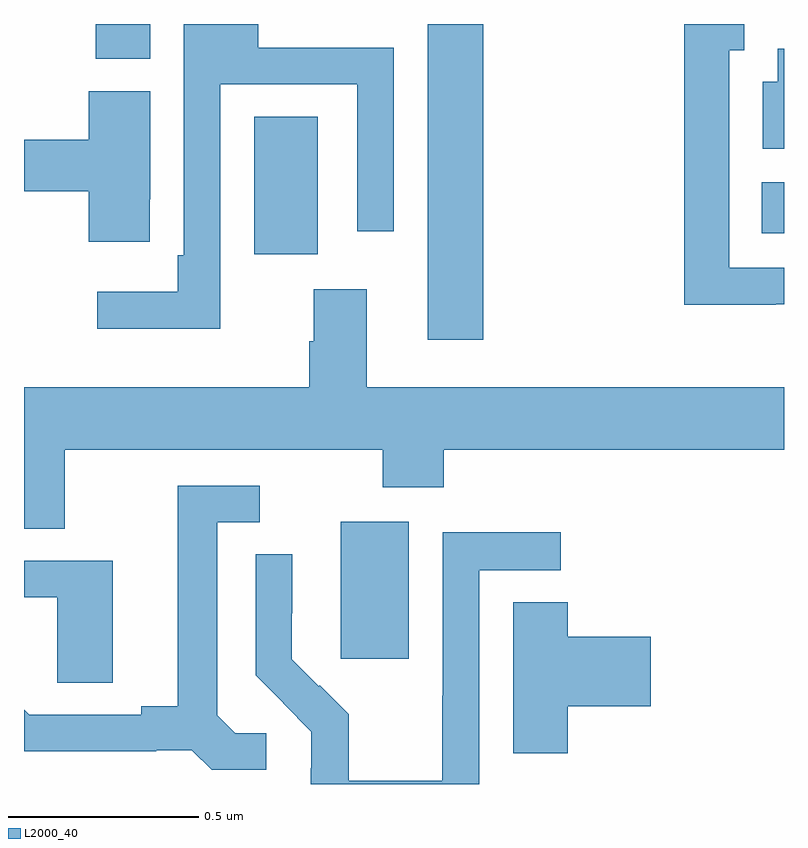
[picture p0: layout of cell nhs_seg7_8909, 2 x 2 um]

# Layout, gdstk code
import gdstk
lib = gdstk.Library(unit=1e-6, precision=1e-09)
def R(c, l, rs):  # rectangles x0, y0, x1, y1
    for r in rs: c.add(gdstk.rectangle(r[:2], r[2:], *l))
def P(c, l, *ps):  # polygons
    for p in ps: c.add(gdstk.Polygon(p, *l))
L2000_40 = (2000, 40)

nhs_seg7_8909 = lib.new_cell('nhs_seg7_8909')
R(nhs_seg7_8909, L2000_40, [(230.834,1069.329,231.013,1069.69), (231.062,1070.169,231.209,1071), (230.606,1070.394,230.773,1070.756), (231.941,1070.45,232,1070.584), (230.189,1070.908,230.332,1071)])
P(nhs_seg7_8909, L2000_40, [(231.978,1070.262),(232,1070.262),(232,1070.358),(231.856,1070.358),(231.856,1070.931),(231.895,1070.931),(231.895,1071),(231.738,1071),(231.738,1070.261),(231.978,1070.261)],
  [(230.517,1070.841),(230.877,1070.841),(230.877,1070.454),(230.973,1070.454),(230.973,1070.937),(230.617,1070.937),(230.617,1071),(230.421,1071),(230.421,1070.392),(230.405,1070.392),(230.405,1070.296),(230.193,1070.296),(230.193,1070.198),(230.517,1070.198)],
  [(232,1070.935),(231.983,1070.935),(231.983,1070.848),(231.944,1070.848),(231.944,1070.672),(232,1070.672)],
  [(230.331,1070.539),(230.332,1070.539),(230.332,1070.823),(230.171,1070.823),(230.171,1070.696),(230,1070.696),(230,1070.56),(230.171,1070.56),(230.171,1070.427),(230.331,1070.427)],
  [(230.107,1069.88),(230.944,1069.88),(230.944,1069.781),(231.104,1069.781),(231.104,1069.88),(232,1069.88),(232,1070.044),(230.902,1070.044),(230.902,1070.302),(230.762,1070.302),(230.762,1070.165),(230.75,1070.165),(230.75,1070.044),(230,1070.044),(230,1069.672),(230.107,1069.672)],
  [(230.638,1069.134),(230.556,1069.134),(230.509,1069.181),(230.509,1069.689),(230.62,1069.689),(230.62,1069.785),(230.405,1069.785),(230.405,1069.205),(230.309,1069.205),(230.309,1069.182),(230.014,1069.182),(230,1069.196),(230,1069.086),(230.348,1069.086),(230.348,1069.089),(230.442,1069.089),(230.494,1069.037),(230.638,1069.037)],
  [(231.198,1069.563),(231.412,1069.563),(231.412,1069.662),(231.102,1069.662),(231.102,1069.232),(231.1,1069.232),(231.1,1069.009),(230.855,1069.009),(230.855,1069.183),(230.778,1069.26),(230.775,1069.257),(230.705,1069.328),(230.705,1069.45),(230.706,1069.45),(230.706,1069.604),(230.61,1069.604),(230.61,1069.286),(230.683,1069.213),(230.682,1069.212),(230.756,1069.138),(230.756,1069.041),(230.754,1069.041),(230.754,1069),(231.198,1069)],
  [(230.233,1069.587),(230,1069.587),(230,1069.491),(230.088,1069.491),(230.088,1069.267),(230.233,1069.267)],
  [(231.431,1069.205),(231.649,1069.205),(231.649,1069.388),(231.431,1069.388),(231.431,1069.478),(231.287,1069.478),(231.287,1069.081),(231.431,1069.081)])

lib.write_gds('nhs_seg7_8909.gds')
